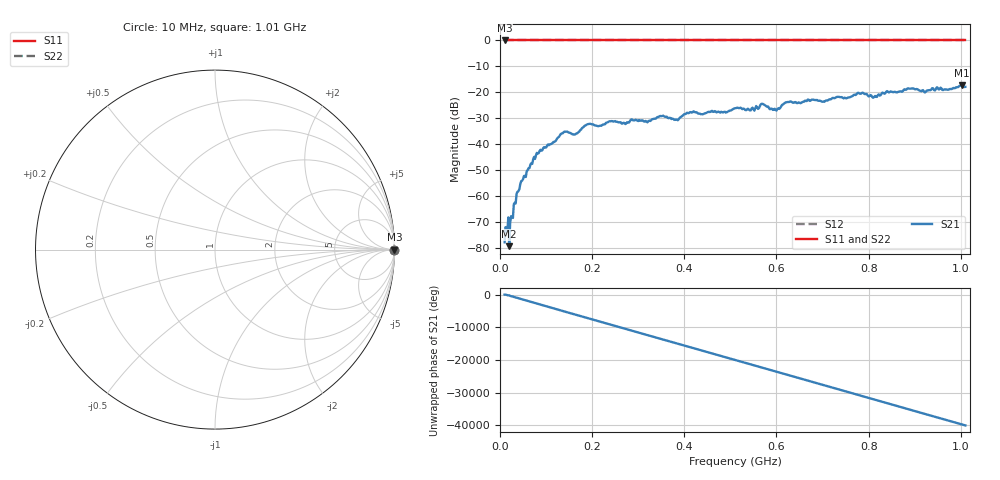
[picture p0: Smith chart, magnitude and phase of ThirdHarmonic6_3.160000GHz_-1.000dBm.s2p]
! 8/17/2025 9:29:14 AM
! C:\ANRITSUVNA\TEMP\TEMP.S2P
! CHANNEL.1
! TR.MEASUREMENT
! RAW.DATA
! RF.CORRECTION.OFF
! AVERAGING.OFF
! IF.BANDWIDTH: 5KHZ
! SWEEPTYPE:  FREQ.SWEEP(Linear)
! Reference Plane Port Info
! PORT:  PORT1  PORT2
! DISTANCE:  0  m  0  m
! TIME:  0  s  0  s
! PHASE.OFFSET:  0  deg.  0  deg.
! LOSS:  0  dB  0  dB
! REF.LOSS:  0  dB  0  dB
! REF.FREQ:  0  Hz  0  Hz
! Power Info
! POWER:  -20  dBm  -20  dBm
! EFF.POWER:  -20  dBm  -20  dBm
! SOURCE.ATTEN:  0  dB  0  dB
! TEST.ATTEN:  0  dB  0  dB
# GHZ S RI R 50.0
! FREQ.GHZ  S11RE  S11IM  S21RE  S21IM  S12RE  S12IM  S22RE  S22IM
!; PortSelection: Port_12
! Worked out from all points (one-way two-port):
!   501 points, 10 MHz to 1.01 GHz, reference 50 ohm
!   highest |S21| = -17.34 dB at 1.002 GHz (marker M1); lowest = -79.3 dB at 20 MHz (marker M2)
!   lowest |S11| = 0.0 dB at 10 MHz (marker M3)
!   |S11| at or under -10 dB: nowhere
!   |S22| runs from 0.0 to 0.0 dB; largest |S21 - S12| = 1.1
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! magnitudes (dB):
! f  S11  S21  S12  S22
! 10 MHz  0.0  -77.8  0.0  0.0
! 20 MHz  0.0  -79.3  0.0  0.0
! 24 MHz  0.0  -67.7  0.0  0.0
! 26 MHz  0.0  -68.1  0.0  0.0
! 40 MHz  0.0  -58.1  0.0  0.0
! 76 MHz  0.0  -45.7  0.0  0.0
! 136 MHz  0.0  -35.8  0.0  0.0
! 162 MHz  0.0  -36.3  0.0  0.0
! 178 MHz  0.0  -33.7  0.0  0.0
! 344 MHz  0.0  -29.5  0.0  0.0
! 382 MHz  0.0  -30.5  0.0  0.0
! 416 MHz  0.0  -27.8  0.0  0.0
! 510 MHz  0.0  -26.1  0.0  0.0
! 570 MHz  0.0  -24.4  0.0  0.0
! 596 MHz  0.0  -26.3  0.0  0.0
! 622 MHz  0.0  -23.8  0.0  0.0
! 678 MHz  0.0  -22.8  0.0  0.0
! 780 MHz  0.0  -20.4  0.0  0.0
! 814 MHz  0.0  -21.4  0.0  0.0
! 844 MHz  0.0  -20.0  0.0  0.0
! 1.002 GHz  0.0  -17.3  0.0  0.0
! 1.01 GHz  0.0  -17.9  0.0  0.0
